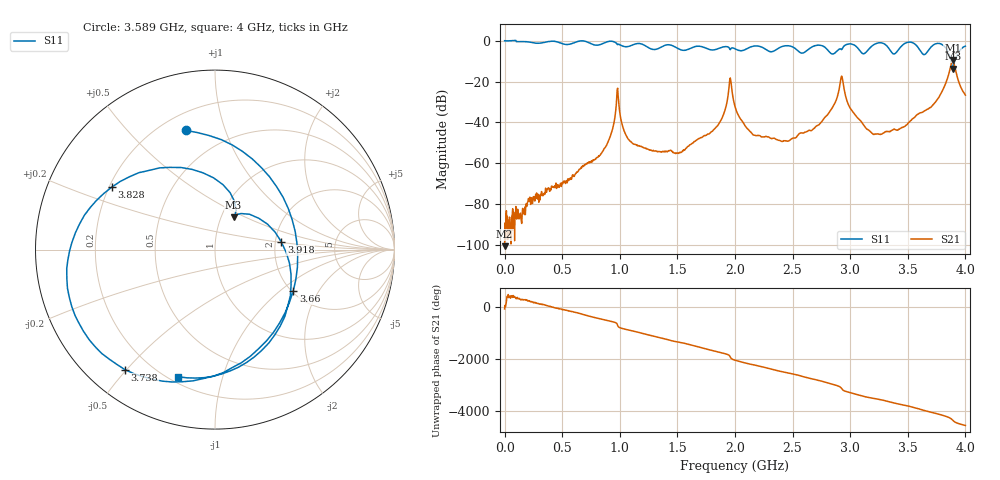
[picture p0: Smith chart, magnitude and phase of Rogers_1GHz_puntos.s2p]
! NanoVNA-App
! Date: 2025-10-01 19:53:59
! Start: 10kHz Stop: 4GHz Points: 1024
! S-Parameter data: F S11 S21 S12 S22
# Hz S RI R 50
!  Frequency  S11_Real  S11_Imag  S21_Real  S21_Imag  S12_Real  S12_Imag  S22_Real  S22_Imag
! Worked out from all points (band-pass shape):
!   1024 points, 10 kHz to 4 GHz, reference 50 ohm
!   highest |S21| = -9.47 dB at 3.891 GHz (marker M1); lowest = -100.7 dB at 10 kHz (marker M2)
!   |S21| within 3 dB of the highest: 3.872 GHz to 3.907 GHz (34.33 MHz wide, 0.883 % of centre)
!   lowest |S11| = -13.6 dB at 3.891 GHz (marker M3), VSWR 1.53, Z = 57.2 + j21.6 ohm
!   |S11| at or under -10 dB: 3.876 GHz to 3.909 GHz (32.72 MHz wide, 0.841 % of centre)
!   S12 and S22 are empty: the file has one direction only
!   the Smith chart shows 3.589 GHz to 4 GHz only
!   S11 on the Smith chart (normalised r, x): 3.589 GHz: 0.30, +0.74; 3.66 GHz: 2.03, -1.24; 3.738 GHz: 0.11, -0.50; 3.828 GHz: 0.21, +0.27; 3.918 GHz: 2.16, +0.22; 4 GHz: 0.23, -0.73
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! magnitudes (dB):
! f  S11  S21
! 10 kHz  0.0  -100.7
! 668.6 MHz  0.0  -62.3
! 875.9 MHz  -0.8  -52.1
! 981.4 MHz  -1.9  -23.3
! 1.079 GHz  -2.7  -48.5
! 1.333 GHz  -3.8  -54.3
! 1.795 GHz  -4.5  -44.7
! 1.892 GHz  -3.1  -37.2
! 1.959 GHz  -4.4  -18.3
! 2.002 GHz  -4.0  -32.6
! 2.17 GHz  -2.6  -46.3
! 2.667 GHz  -3.1  -43.9
! 2.925 GHz  -4.3  -17.3
! 3.136 GHz  -5.7  -42.8
! 3.335 GHz  -3.7  -44.6
! 3.589 GHz  -3.3  -35.9
! 3.66 GHz  -6.1  -33.9
! 3.738 GHz  -1.6  -30.2
! 3.828 GHz  -3.4  -21.0
! 3.891 GHz  -13.6  -9.5
! 3.918 GHz  -8.6  -15.2
! 4 GHz  -2.6  -26.6
